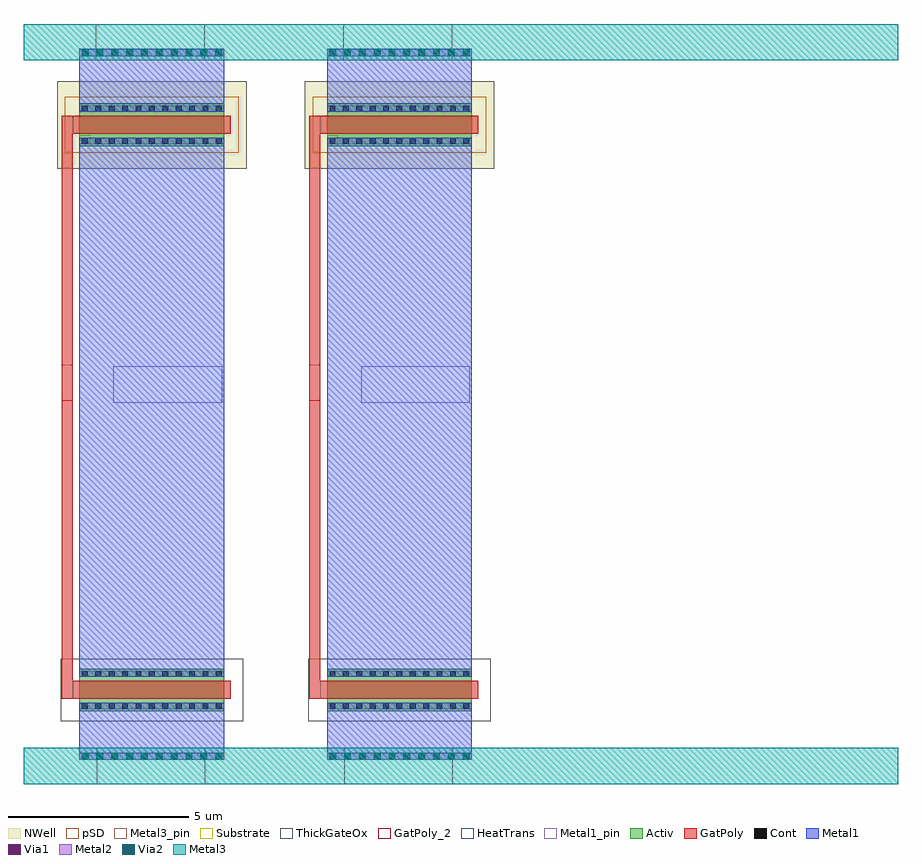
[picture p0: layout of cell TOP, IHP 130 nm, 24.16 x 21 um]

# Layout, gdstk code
from math import pi, radians
import gdstk
lib = gdstk.Library(unit=1e-6, precision=1e-09)
def R(c, l, rs):  # rectangles x0, y0, x1, y1
    for r in rs: c.add(gdstk.rectangle(r[:2], r[2:], *l))
def A(c, l, x, y, w, h, nx, ny, dx, dy):  # array of equal rectangles
    R(c, l, [(x+i*dx, y+j*dy, x+i*dx+w, y+j*dy+h) for i in range(nx) for j in range(ny)])
Activ = (1, 0)
GatPoly = (5, 0)
GatPoly_2 = (5, 2)
Cont = (6, 0)
Metal1 = (8, 0)
Metal1_pin = (8, 2)
Metal2 = (10, 0)
pSD = (14, 0)
Via1 = (19, 0)
Via2 = (29, 0)
Metal3 = (30, 0)
Metal3_pin = (30, 2)
NWell = (31, 0)
Substrate = (40, 0)
ThickGateOx = (44, 0)
HeatTrans = (51, 0)

nmoshv = lib.new_cell('nmosHV')
R(nmoshv, Activ, [(0,0,0.3,0.3), (0,0,1.18,4), (0.88,0,1.18,0.3)])
R(nmoshv, GatPoly, [(0.34,-0.18,0.84,4.18)])
R(nmoshv, GatPoly_2, [(0.34,-0.18,0.84,4.18)])
A(nmoshv, Cont, 0.07, 0.07, 0.16, 0.16, 1, 11, 0, 0.37)
A(nmoshv, Cont, 0.95, 0.07, 0.16, 0.16, 1, 11, 0, 0.37)
R(nmoshv, Metal1, [(0.07,0,0.23,4), (0.95,0,1.11,4)])
R(nmoshv, Metal1_pin, [(0.07,0,0.23,4), (0.95,0,1.11,4)])
R(nmoshv, ThickGateOx, [(-0.27,-0.52,1.45,4.52)])
R(nmoshv, HeatTrans, [(0.34,-0.18,0.84,4.18)])
nmoshv.add(gdstk.Label('nmosHV', (0.59,2), layer=63, texttype=0))
nmoshv.add(gdstk.Label('nmosHV', (0.59,2), layer=51, texttype=0))

via = lib.new_cell('Via')
R(via, Metal1, [(-2,-0.105,2,0.105)])
R(via, Metal2, [(-2,-0.1,2,0.1)])
A(via, Via1, -1.94, -0.095, 0.19, 0.19, 10, 1, 0.41, 0)

pmoshv_1 = lib.new_cell('pmosHV$1')
R(pmoshv_1, Activ, [(0,0,0.3,0.3), (0,0,1.18,4), (0.88,0,1.18,0.3)])
R(pmoshv_1, GatPoly, [(0.34,-0.18,0.84,4.18)])
R(pmoshv_1, GatPoly_2, [(0.34,-0.18,0.84,4.18)])
A(pmoshv_1, Cont, 0.07, 0.07, 0.16, 0.16, 1, 11, 0, 0.37)
A(pmoshv_1, Cont, 0.95, 0.07, 0.16, 0.16, 1, 11, 0, 0.37)
R(pmoshv_1, Metal1, [(0.07,0,0.23,4), (0.95,0,1.11,4)])
R(pmoshv_1, Metal1_pin, [(0.07,0,0.23,4), (0.95,0,1.11,4)])
R(pmoshv_1, pSD, [(-0.18,-0.4,1.36,4.4)])
R(pmoshv_1, NWell, [(-0.62,-0.62,1.8,4.62)])
R(pmoshv_1, Substrate, [(0.88,0,1.18,0.3)])
R(pmoshv_1, ThickGateOx, [(-0.62,-0.62,1.8,4.62)])
R(pmoshv_1, HeatTrans, [(0.34,-0.18,0.84,4.18)])
pmoshv_1.add(gdstk.Label('pmosHV', (0.59,2), layer=63, texttype=0))
pmoshv_1.add(gdstk.Label('pmos', (0.59,2), layer=51, texttype=0))

via_1 = lib.new_cell('Via$1')
R(via_1, Metal2, [(-2,-0.1,2,0.1)])
A(via_1, Via2, -1.94, -0.095, 0.19, 0.19, 10, 1, 0.41, 0)
R(via_1, Metal3, [(-2,-0.1,2,0.1)])

inv1 = lib.new_cell('inv1')
R(inv1, GatPoly, [(1.045,1.85,1.355,17.965)])
R(inv1, GatPoly_2, [(1.05,10.09,1.35,11.09)])
R(inv1, Metal1, [(1.535,0.17,5.535,1.74), (1.535,2.46,5.535,17.355), (1.535,18.075,5.535,19.81)])
R(inv1, Metal1_pin, [(2.475,10.04,5.475,11.04)])
R(inv1, Metal3, [(0,-0.5,6.84,0.5), (0,19.5,6.84,20.5)])
R(inv1, Metal3_pin, [(2.015,-0.5,5.015,0.5), (1.99,19.5,4.99,20.5)])
inv1.add(gdstk.Reference(nmoshv, (1.535,2.69), rotation=3*pi/2))
inv1.add(gdstk.Reference(via, (3.535,19.705)))
inv1.add(gdstk.Reference(pmoshv_1, (1.535,18.305), rotation=3*pi/2))
inv1.add(gdstk.Reference(via_1, (3.535,19.705)))
inv1.add(gdstk.Reference(via_1, (3.535,0.27)))
inv1.add(gdstk.Reference(via, (3.535,0.27)))
inv1.add(gdstk.Label('Vout', (3.975,10.54), layer=8, texttype=25))
inv1.add(gdstk.Label('Vin', (1.2,10.59), layer=5, texttype=1))
inv1.add(gdstk.Label('VDD', (3.49,20.005), layer=30, texttype=25))
inv1.add(gdstk.Label('VSS', (3.515,0), layer=30, texttype=25))

inv2 = lib.new_cell('inv2')
R(inv2, GatPoly, [(1.045,1.85,1.355,17.965)])
R(inv2, GatPoly_2, [(1.05,10.09,1.35,11.09)])
R(inv2, Metal1, [(1.535,0.17,5.535,1.74), (1.535,2.46,5.535,17.355), (1.535,18.075,5.535,19.81)])
R(inv2, Metal1_pin, [(2.475,10.04,5.475,11.04)])
R(inv2, Metal3, [(0,-0.5,6.84,0.5), (0,19.5,6.84,20.5)])
R(inv2, Metal3_pin, [(2.015,-0.5,5.015,0.5), (1.99,19.5,4.99,20.5)])
inv2.add(gdstk.Reference(nmoshv, (1.535,2.69), rotation=3*pi/2))
inv2.add(gdstk.Reference(via, (3.535,19.705)))
inv2.add(gdstk.Reference(pmoshv_1, (1.535,18.305), rotation=3*pi/2))
inv2.add(gdstk.Reference(via_1, (3.535,19.705)))
inv2.add(gdstk.Reference(via_1, (3.535,0.27)))
inv2.add(gdstk.Reference(via, (3.535,0.27)))
inv2.add(gdstk.Label('Vout', (3.975,10.54), layer=8, texttype=25))
inv2.add(gdstk.Label('Vin', (1.2,10.59), layer=5, texttype=1))
inv2.add(gdstk.Label('VDD', (3.49,20.005), layer=30, texttype=25))
inv2.add(gdstk.Label('VSS', (3.515,0), layer=30, texttype=25))

top = lib.new_cell('TOP')
R(top, Metal3, [(0,-0.5,24.155,0.5), (0,19.5,24.155,20.5)])
top.add(gdstk.Reference(inv1, (0,0)))
top.add(gdstk.Reference(inv2, (6.84,0)))

lib.write_gds('TOP.gds')
